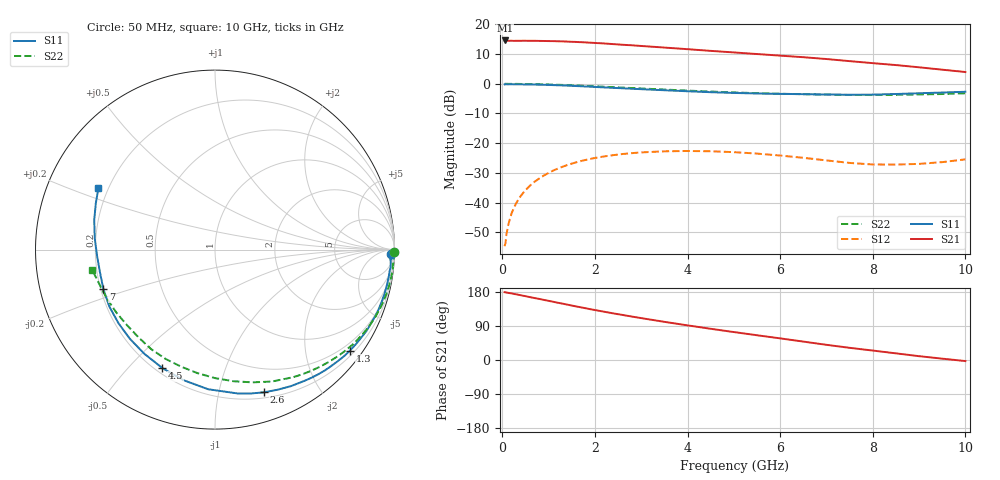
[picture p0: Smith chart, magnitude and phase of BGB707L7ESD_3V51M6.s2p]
!  Infineon Technologies AG
!  BGB707L7ESD
!  Vce = 3.5V, Ic = 1.6mA
!  DATUM: 30.06.2009 10:59:31
# GHz  S  MA  R  50
!f  S11  S21  S12  S22
!GHz  Mag  Ang  Mag  Ang  Mag  Ang  Mag  Ang
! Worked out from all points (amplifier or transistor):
!   52 points, 50 MHz to 10 GHz, reference 50 ohm
!   highest |S21| = 14.6 dB at 60 MHz (marker M1)
!   |S21| within 3 dB of that: start of sweep to 4.05 GHz
!   unconditionally stable (mu >= 1): 7.218 GHz to end of sweep
!   at 130 MHz: K = 0.01, MSG = 31.0 dB, |S12| = -47.5 dB
!   at 1.4 GHz: K = 0.04, MSG = 20.8 dB, |S12| = -27.4 dB
!   at 10 GHz: K = 1.16, MAG = 12.3 dB, |S12| = -25.5 dB
!   S11 on the Smith chart (normalised r, x): 50 MHz: 44, -51; 1.3 GHz: 0.31, -2.98; 2.6 GHz: 0.25, -1.37; 4.5 GHz: 0.23, -0.63; 7 GHz: 0.21, -0.16; 10 GHz: 0.16, +0.24
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0.05  0.9806 -1.3  5.274 179.0  0.001838 86.3  0.9982 -0.9
0.06  0.988 -1.6  5.373 178.8  0.001974 84.9  0.9989 -1.1
0.08  0.9799 -2.2  5.286 178.1  0.002521 84.8  0.9986 -1.6
0.09  0.9828 -2.6  5.328 178.5  0.002974 85.8  0.9988 -1.8
0.1  0.9814 -2.9  5.302 177.7  0.00317 87.8  0.9981 -2.0
0.2  0.9835 -5.7  5.319 175.8  0.006549 84.8  0.9972 -4.2
0.4  0.9784 -11.3  5.294 171.0  0.01291 82.1  0.9937 -8.3
0.7  0.9708 -19.9  5.306 163.4  0.02245 75.9  0.9866 -14.5
1.3  0.9389 -36.8  5.183 148.7  0.04003 63.5  0.9573 -26.8
1.8  0.9017 -50.5  4.981 136.6  0.05216 53.6  0.9226 -36.8
2.2  0.8701 -61.1  4.782 127.4  0.0598 46.1  0.892 -44.4
2.6  0.8403 -71.2  4.544 118.8  0.06562 39.3  0.8618 -51.6
3  0.8116 -81.0  4.338 110.6  0.06983 33.0  0.8337 -58.5
3.5  0.7792 -92.8  4.079 100.7  0.07289 25.8  0.8004 -66.7
4.5  0.7221 -114.0  3.588 82.4  0.07299 13.7  0.7403 -82.1
5.5  0.6869 -133.7  3.172 65.3  0.06671 5.0  0.6953 -98.0
6.5  0.6687 -151.6  2.807 48.6  0.05664 1.5  0.6685 -114.3
7  0.6598 -160.4  2.614 40.0  0.05122 2.4  0.6586 -122.7
7.5  0.6534 -168.8  2.41 32.1  0.04642 6.4  0.6487 -130.9
8.5  0.673 174.6  2.069 17.5  0.04359 19.9  0.652 -147.4
9  0.693 166.2  1.897 10.1  0.04474 26.8  0.6615 -155.8
10  0.7343 152.2  1.579 -2.8  0.05329 37.4  0.6924 -170.3
